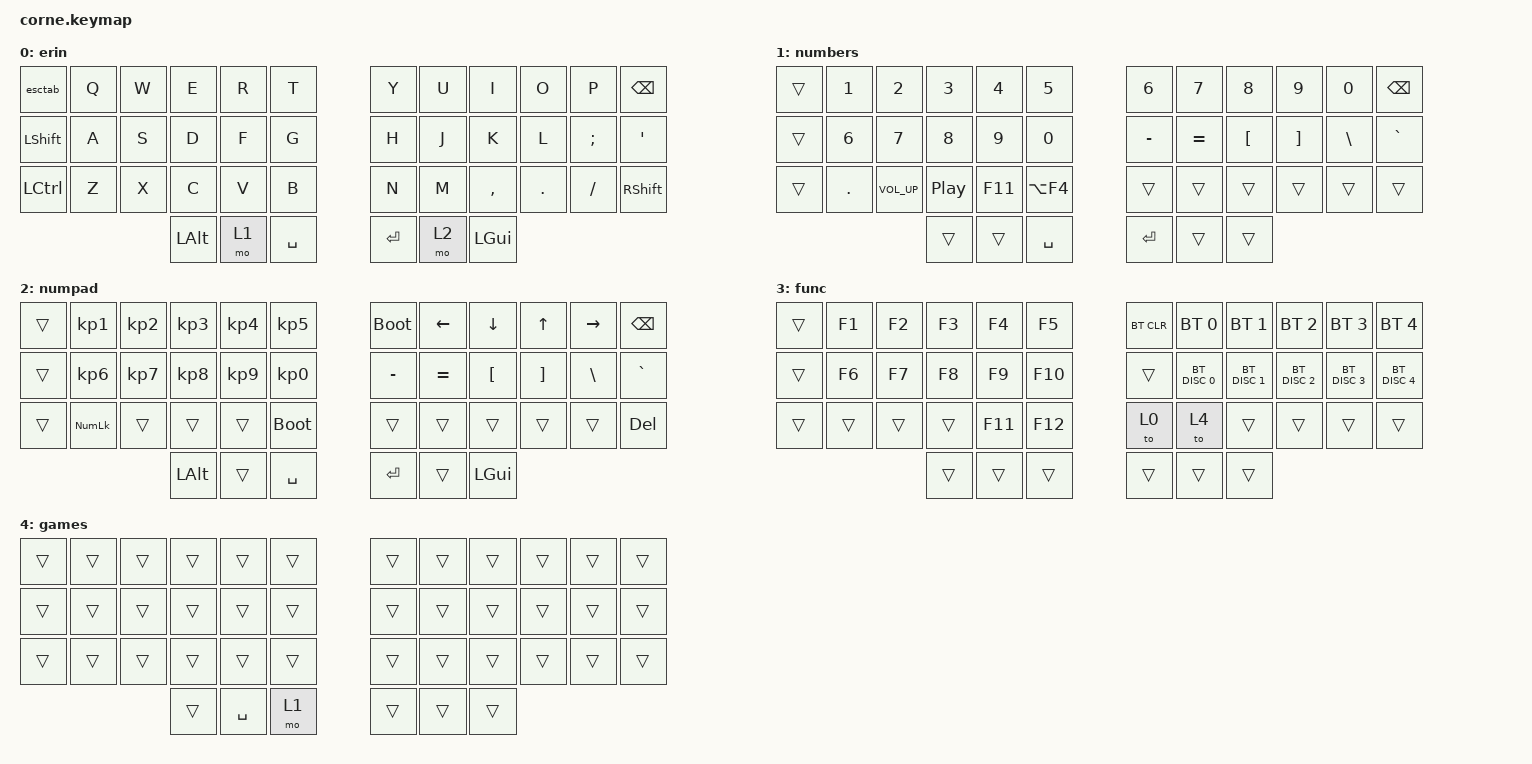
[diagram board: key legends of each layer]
/*
 * Copyright (c) 2020 The ZMK Contributors
 *
 * SPDX-License-Identifier: MIT
 */

#include <behaviors.dtsi>
#include <dt-bindings/zmk/bt.h>
#include <dt-bindings/zmk/keys.h>

/ {
    behaviors {
        esctab: esctab {
            compatible = "zmk,behavior-tap-dance";
            label = "ESCTAB";
            #binding-cells = <0>;
            bindings = <&kp ESC>, <&kp TAB>;
        };
    };

    keymap {
        compatible = "zmk,keymap";

        erin {
            // -----------------------------------------------------------------------------------------
            // |  TAB |  Q  |  W  |  E  |  R  |  T  |   |  Y  |  U   |  I  |  O  |  P  | BKSP |
            // | CTRL |  A  |  S  |  D  |  F  |  G  |   |  H  |  J   |  K  |  L  |  ;  |  '   |
            // | SHFT |  Z  |  X  |  C  |  V  |  B  |   |  N  |  M   |  ,  |  .  |  /  | ESC  |
            //                    | GUI | LWR | SPC |   | ENT | RSE  | ALT |

            display-name = "erin";
            bindings = <
&esctab           &kp Q  &kp W  &kp E         &kp R  &kp T        &kp Y    &kp U  &kp I         &kp O    &kp P     &kp BSPC
&kp LSHIFT        &kp A  &kp S  &kp D         &kp F  &kp G        &kp H    &kp J  &kp K         &kp L    &kp SEMI  &kp SQT
&kp LEFT_CONTROL  &kp Z  &kp X  &kp C         &kp V  &kp B        &kp N    &kp M  &kp COMMA     &kp DOT  &kp FSLH  &kp RIGHT_SHIFT
                                &kp LEFT_ALT  &mo 1  &kp SPACE    &kp RET  &mo 2  &kp LEFT_GUI
            >;
        };

        numbers {
            // -----------------------------------------------------------------------------------------
            // |  TAB |  1  |  2  |  3  |  4  |  5  |   |  6  |  7  |  8  |  9  |  0  | BKSP |
            // | BTCLR| BT1 | BT2 | BT3 | BT4 | BT5 |   | LFT | DWN |  UP | RGT |     |      |
            // | SHFT |     |     |     |     |     |   |     |     |     |     |     |      |
            //                    | GUI |     | SPC |   | ENT |     | ALT |

            display-name = "numbers";
            bindings = <
&trans  &kp N1        &kp N2           &kp N3            &kp N4   &kp N5        &kp N6     &kp N7     &kp N8            &kp N9             &kp N0         &kp BSPC
&trans  &kp NUMBER_6  &kp N7           &kp N8            &kp N9   &kp N0        &kp MINUS  &kp EQUAL  &kp LEFT_BRACKET  &kp RIGHT_BRACKET  &kp BACKSLASH  &kp GRAVE
&trans  &kp PERIOD    &kp C_VOLUME_UP  &kp C_PLAY_PAUSE  &kp F11  &kp LA(F4)    &trans     &trans     &trans            &trans             &trans         &trans
                                       &trans            &trans   &kp SPACE     &kp RET    &trans     &trans
            >;
        };

        numpad {
            // -----------------------------------------------------------------------------------------
            // |  TAB |  !  |  @  |  #  |  $  |  %  |   |  ^  |  &  |  *  |  (  |  )  | BKSP |
            // | CTRL |     |     |     |     |     |   |  -  |  =  |  [  |  ]  |  \  |  `   |
            // | SHFT |     |     |     |     |     |   |  _  |  +  |  {  |  }  | "|" |  ~   |
            //                    | GUI |     | SPC |   | ENT |     | ALT |

            display-name = "numpad";
            bindings = <
&trans  &kp KP_NUMBER_1  &kp KP_NUMBER_2  &kp KP_NUMBER_3  &kp KP_NUMBER_4  &kp KP_NUMBER_5    &bootloader  &kp LEFT_ARROW  &kp DOWN_ARROW  &kp UP_ARROW  &kp RIGHT  &kp BACKSPACE
&trans  &kp KP_NUMBER_6  &kp KP_NUMBER_7  &kp KP_NUMBER_8  &kp KP_NUMBER_9  &kp KP_NUMBER_0    &kp MINUS    &kp EQUAL       &kp LBKT        &kp RBKT      &kp BSLH   &kp GRAVE
&trans  &kp KP_NUMLOCK   &trans           &trans           &trans           &bootloader        &trans       &trans          &trans          &trans        &trans     &kp DEL
                                          &kp LEFT_ALT     &trans           &kp SPACE          &kp RET      &trans          &kp LEFT_GUI
            >;
        };

        functions {
            display-name = "func";
            bindings = <
&trans  &kp F1  &kp F2  &kp F3  &kp F4   &kp F5     &bt BT_CLR  &bt BT_SEL 0   &bt BT_SEL 1   &bt BT_SEL 2   &bt BT_SEL 3   &bt BT_SEL 4
&trans  &kp F6  &kp F7  &kp F8  &kp F9   &kp F10    &trans      &bt BT_DISC 0  &bt BT_DISC 1  &bt BT_DISC 2  &bt BT_DISC 3  &bt BT_DISC 4
&trans  &trans  &trans  &trans  &kp F11  &kp F12    &to 0       &to 4          &trans         &trans         &trans         &trans
                        &trans  &trans   &trans     &trans      &trans         &trans
            >;
        };

        games {
            display-name = "games";
            bindings = <
&trans  &trans  &trans  &trans  &trans     &trans    &trans  &trans  &trans  &trans  &trans  &trans
&trans  &trans  &trans  &trans  &trans     &trans    &trans  &trans  &trans  &trans  &trans  &trans
&trans  &trans  &trans  &trans  &trans     &trans    &trans  &trans  &trans  &trans  &trans  &trans
                        &trans  &kp SPACE  &mo 1     &trans  &trans  &trans
            >;
        };
    };

    conditional_layers {
        compatible = "zmk,conditional-layers";

        Function {
            if-layers = <1 2>;
            then-layer = <3>;
        };
    };
};
